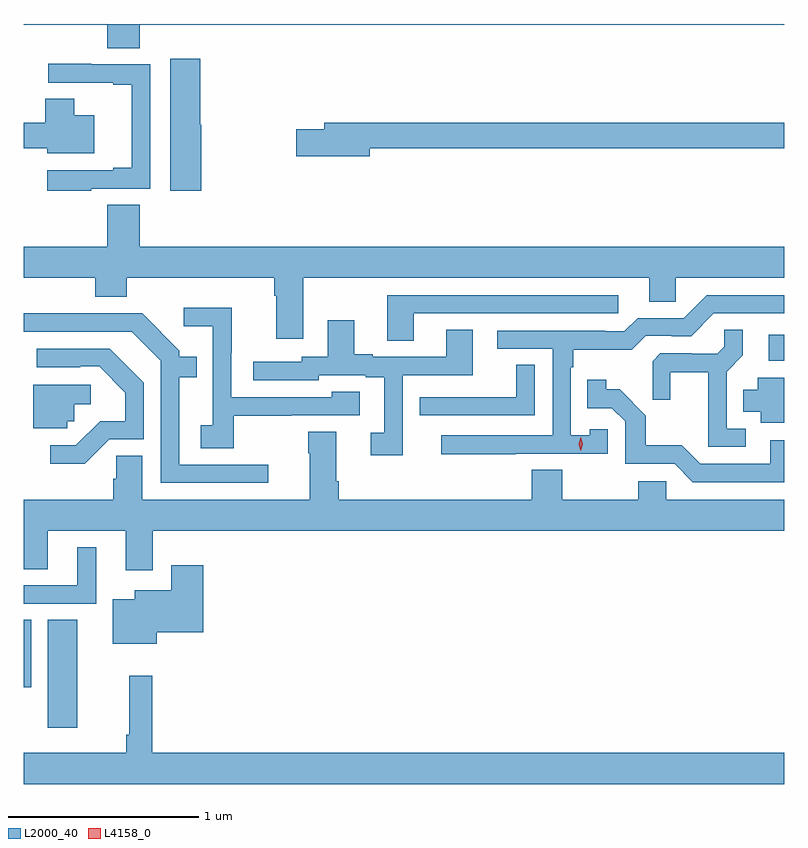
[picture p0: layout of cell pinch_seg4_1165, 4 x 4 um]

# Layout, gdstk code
import gdstk
lib = gdstk.Library(unit=1e-6, precision=1e-09)
def R(c, l, rs):  # rectangles x0, y0, x1, y1
    for r in rs: c.add(gdstk.rectangle(r[:2], r[2:], *l))
def P(c, l, *ps):  # polygons
    for p in ps: c.add(gdstk.Polygon(p, *l))
L2000_40 = (2000, 40)
L4158_0 = (4158, 0)

pinch_seg4_1165 = lib.new_cell('pinch_seg4_1165')
R(pinch_seg4_1165, L2000_40, [(418.886,765.147,419.041,765.716), (418.76,765.36,418.798,765.716), (422.679,767.079,422.76,767.215)])
P(pinch_seg4_1165, L2000_40, [(419.369,768.848),(422.76,768.848),(422.76,768.851),(418.76,768.851),(418.76,768.848),(419.198,768.848),(419.198,768.724),(419.369,768.724)],
  [(419.692,768.321),(419.687,768.321),(419.687,768.667),(419.531,768.667),(419.531,767.973),(419.692,767.973)],
  [(419.114,767.985),(419.424,767.985),(419.424,768.639),(419.114,768.639),(419.114,768.641),(418.887,768.641),(418.887,768.543),(419.231,768.543),(419.231,768.531),(419.327,768.531),(419.327,768.094),(419.231,768.094),(419.231,768.081),(418.884,768.081),(418.884,767.973),(419.114,767.973)],
  [(419.131,768.37),(419.025,768.37),(419.025,768.458),(418.871,768.458),(418.871,768.332),(418.76,768.332),(418.76,768.196),(418.883,768.196),(418.883,768.17),(419.131,768.17)],
  [(420.58,768.196),(422.76,768.196),(422.76,768.332),(420.341,768.332),(420.341,768.296),(420.192,768.296),(420.192,768.154),(420.58,768.154)],
  [(420.229,767.516),(422.051,767.516),(422.051,767.389),(422.19,767.389),(422.19,767.516),(422.76,767.516),(422.76,767.68),(419.369,767.68),(419.369,767.9),(419.198,767.9),(419.198,767.68),(418.76,767.68),(418.76,767.516),(419.135,767.516),(419.135,767.417),(419.3,767.417),(419.3,767.516),(420.077,767.516),(420.077,767.42),(420.089,767.42),(420.089,767.196),(420.229,767.196)],
  [(420.811,767.328),(421.888,767.328),(421.888,767.424),(420.671,767.424),(420.671,767.185),(420.811,767.185)],
  [(421.349,766.59),(421.833,766.59),(421.833,766.719),(421.737,766.719),(421.737,766.687),(421.638,766.687),(421.638,767.045),(421.651,767.045),(421.651,767.138),(421.958,767.138),(422.031,767.211),(422.17,767.211),(422.17,767.208),(422.271,767.208),(422.391,767.328),(422.76,767.328),(422.76,767.424),(422.352,767.424),(422.232,767.304),(421.989,767.304),(421.92,767.235),(421.82,767.235),(421.82,767.238),(421.251,767.238),(421.251,767.142),(421.542,767.142),(421.542,766.686),(420.957,766.686),(420.957,766.588),(421.349,766.588)],
  [(419.863,766.789),(420.167,766.789),(420.167,766.791),(420.526,766.791),(420.526,766.915),(420.381,766.915),(420.381,766.887),(419.85,766.887),(419.85,767.12),(419.853,767.12),(419.853,767.359),(419.601,767.359),(419.601,767.261),(419.754,767.261),(419.754,766.74),(419.691,766.74),(419.691,766.618),(419.863,766.618)],
  [(420.046,766.533),(419.578,766.533),(419.578,766.992),(419.669,766.992),(419.669,767.101),(419.577,767.101),(419.577,767.133),(419.382,767.328),(419.051,767.328),(419.051,767.33),(418.76,767.33),(418.76,767.232),(419.328,767.232),(419.481,767.079),(419.481,766.437),(420.046,766.437)],
  [(420.753,767.004),(421.123,767.004),(421.123,767.243),(420.983,767.243),(420.983,767.1),(420.595,767.1),(420.595,767.113),(420.499,767.113),(420.499,767.293),(420.359,767.293),(420.359,767.1),(420.222,767.1),(420.222,767.073),(419.967,767.073),(419.967,766.977),(420.312,766.977),(420.312,767.004),(420.56,767.004),(420.56,766.992),(420.656,766.992),(420.656,766.701),(420.585,766.701),(420.585,766.581),(420.753,766.581)],
  [(422.557,766.722),(422.457,766.722),(422.457,767.021),(422.543,767.107),(422.543,767.243),(422.445,767.243),(422.445,767.152),(422.408,767.115),(422.274,767.115),(422.274,767.118),(422.109,767.118),(422.068,767.077),(422.068,766.875),(422.162,766.875),(422.162,767.018),(422.36,767.018),(422.36,766.626),(422.557,766.626)],
  [(419.208,766.665),(419.391,766.665),(419.391,766.963),(419.212,767.142),(418.827,767.142),(418.827,767.046),(419.057,767.046),(419.057,767.049),(419.157,767.049),(419.294,766.912),(419.294,766.762),(419.161,766.762),(419.034,766.635),(418.899,766.635),(418.899,766.538),(419.08,766.538)],
  [(421.449,767.057),(421.351,767.057),(421.351,766.887),(420.955,766.887),(420.955,766.886),(420.843,766.886),(420.843,766.791),(421.449,766.791)],
  [(422.76,766.99),(422.621,766.99),(422.621,766.927),(422.546,766.927),(422.546,766.811),(422.636,766.811),(422.636,766.754),(422.76,766.754)],
  [(422.76,766.662),(422.687,766.662),(422.687,766.536),(422.319,766.536),(422.221,766.635),(422.032,766.635),(422.032,766.79),(421.894,766.928),(421.824,766.928),(421.824,766.978),(421.723,766.978),(421.723,766.83),(421.854,766.83),(421.923,766.761),(421.923,766.536),(422.184,766.536),(422.28,766.44),(422.76,766.44)],
  [(418.989,766.761),(419.025,766.761),(419.025,766.85),(419.113,766.85),(419.113,766.953),(418.808,766.953),(418.808,766.725),(418.989,766.725)],
  [(419.437,766.184),(422.76,766.184),(422.76,766.348),(422.139,766.348),(422.139,766.446),(421.993,766.446),(421.993,766.348),(421.593,766.348),(421.593,766.505),(421.433,766.505),(421.433,766.348),(420.416,766.348),(420.416,766.444),(420.403,766.444),(420.403,766.705),(420.256,766.705),(420.256,766.592),(420.263,766.592),(420.263,766.348),(419.383,766.348),(419.383,766.58),(419.245,766.58),(419.245,766.458),(419.231,766.458),(419.231,766.348),(418.76,766.348),(418.76,765.982),(418.885,765.982),(418.885,766.184),(419.297,766.184),(419.297,765.978),(419.437,765.978)],
  [(419.14,766.099),(419.042,766.099),(419.042,765.897),(418.76,765.897),(418.76,765.801),(419.14,765.801)],
  [(419.458,765.65),(419.705,765.65),(419.705,766.003),(419.534,766.003),(419.534,765.871),(419.342,765.871),(419.342,765.823),(419.228,765.823),(419.228,765.59),(419.458,765.59)],
  [(422.76,765.016),(419.435,765.016),(419.435,765.421),(419.314,765.421),(419.314,765.112),(419.299,765.112),(419.299,765.016),(418.76,765.016),(418.76,764.852),(422.76,764.852)])
P(pinch_seg4_1165, L4158_0, [(421.689,766.605),(421.68,766.641),(421.689,766.677),(421.69,766.677),(421.69,766.677),(421.7,766.641),(421.69,766.605),(421.69,766.605)])

lib.write_gds('pinch_seg4_1165.gds')
